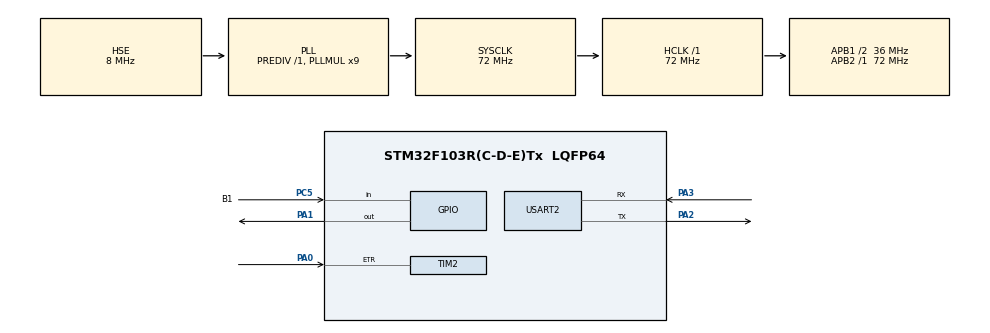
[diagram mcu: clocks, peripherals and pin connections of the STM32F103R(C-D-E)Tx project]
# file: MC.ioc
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Mcu.Family=STM32F1
Mcu.Name=STM32F103R(C-D-E)Tx
Mcu.Package=LQFP64
NVIC.PriorityGroup=NVIC_PRIORITYGROUP_4
NVIC.TIM3_IRQn=true\:0\:0\:false\:false\:true\:true\:true
PA0-WKUP.Signal=S_TIM2_CH1_ETR
PA1.Signal=GPIO_Output
PA13.Mode=Serial_Wire
PA13.Signal=SYS_JTMS-SWDIO
PA14.Mode=Serial_Wire
PA14.Signal=SYS_JTCK-SWCLK
PA2.Mode=Asynchronous
PA2.Signal=USART2_TX
PA3.Mode=Asynchronous
PA3.Signal=USART2_RX
PC14-OSC32_IN.Mode=LSE-External-Oscillator
PC14-OSC32_IN.Signal=RCC_OSC32_IN
PC15-OSC32_OUT.Mode=LSE-External-Oscillator
PC15-OSC32_OUT.Signal=RCC_OSC32_OUT
PC5.GPIO_Label=B1
PC5.GPIO_PuPd=GPIO_PULLUP
PC5.Signal=GPIO_Input
PD0-OSC_IN.Mode=HSE-External-Oscillator
PD0-OSC_IN.Signal=RCC_OSC_IN
PD1-OSC_OUT.Mode=HSE-External-Oscillator
PD1-OSC_OUT.Signal=RCC_OSC_OUT
ProjectManager.HeapSize=0x200
ProjectManager.StackSize=0x400
ProjectManager.TargetToolchain=MDK-ARM V5
RCC.AHBFreq_Value=72000000
RCC.APB1CLKDivider=RCC_HCLK_DIV2
RCC.APB1Freq_Value=36000000
RCC.APB1TimFreq_Value=72000000
RCC.APB2Freq_Value=72000000
RCC.APB2TimFreq_Value=72000000
RCC.HCLKFreq_Value=72000000
RCC.PLLMUL=RCC_PLL_MUL9
RCC.PLLSourceVirtual=RCC_PLLSOURCE_HSE
RCC.SYSCLKFreq_VALUE=72000000
RCC.SYSCLKSource=RCC_SYSCLKSOURCE_PLLCLK
RCC.USBFreq_Value=72000000
SH.S_TIM2_CH1_ETR.0=TIM2_ETR,ClockSourceETR_Mode2
TIM3.Period=100-1
TIM3.Prescaler=7200-1
USART2.VirtualMode=VM_ASYNC
VP_TIM3_VS_ClockSourceINT.Mode=Internal
board=custom

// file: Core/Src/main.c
/* USER CODE BEGIN Header */
/**
  ******************************************************************************
  * @file           : main.c
  * @brief          : Main program body
  ******************************************************************************
  * @attention
  *
  * <h2><center>&copy; Copyright (c) 2021 STMicroelectronics.
  * All rights reserved.</center></h2>
  *
  * This software component is licensed by ST under BSD 3-Clause license,
  * the "License"; You may not use this file except in compliance with the
  * License. You may obtain a copy of the License at:
  *                        opensource.org/licenses/BSD-3-Clause
  *
  ******************************************************************************
  */
/* USER CODE END Header */
#include "main.h"
#include "tim.h"
#include "usart.h"
#include "gpio.h"

/* USER CODE BEGIN PTD */
typedef enum
{
	KEY_CHECK = 0,
	KEY_COMFIRM,
	KEY_RELEASE
}KEY_STATE;
/* USER CODE END PTD */

/* USER CODE BEGIN PV */
KEY_STATE KeyState = KEY_CHECK;
uint8_t KeyFlag = 0;
uint8_t Result = 0;
/* USER CODE END PV */

void SystemClock_Config(void);

int main(void)
{

  /* MCU Configuration--------------------------------------------------------*/

  /* Reset of all peripherals, Initializes the Flash interface and the Systick. */
  HAL_Init();

  /* Configure the system clock */
  SystemClock_Config();

  /* Initialize all configured peripherals */
  MX_GPIO_Init();
  MX_TIM2_Init();
  MX_USART2_UART_Init();
  MX_TIM3_Init();
  /* USER CODE BEGIN 2 */
	HAL_TIM_Base_Start_IT(&htim3);
	HAL_TIM_Base_Start(&htim2);
	printf(" Timer count function test: \n");
  /* USER CODE END 2 */

  /* Infinite loop */
  while (1)
  {

    /* USER CODE BEGIN 3 */
		if(KeyFlag == 1)
		{
			KeyFlag = 0;
			HAL_GPIO_WritePin(GPIOA,GPIO_PIN_1,GPIO_PIN_SET);
			HAL_Delay(1);
			HAL_GPIO_WritePin(GPIOA,GPIO_PIN_1,GPIO_PIN_RESET);
			HAL_Delay(1);
			Result = __HAL_TIM_GET_COUNTER(&htim2);
			printf("Count = %d.\n",Result);
		}
  }
  /* USER CODE END 3 */
}

void SystemClock_Config(void)
{
  RCC_OscInitTypeDef RCC_OscInitStruct = {0};
  RCC_ClkInitTypeDef RCC_ClkInitStruct = {0};

  /** Initializes the RCC Oscillators according to the specified parameters
  * in the RCC_OscInitTypeDef structure.
  */
  RCC_OscInitStruct.OscillatorType = RCC_OSCILLATORTYPE_HSE;
  RCC_OscInitStruct.HSEState = RCC_HSE_ON;
  RCC_OscInitStruct.HSEPredivValue = RCC_HSE_PREDIV_DIV1;
  RCC_OscInitStruct.HSIState = RCC_HSI_ON;
  RCC_OscInitStruct.PLL.PLLState = RCC_PLL_ON;
  RCC_OscInitStruct.PLL.PLLSource = RCC_PLLSOURCE_HSE;
  RCC_OscInitStruct.PLL.PLLMUL = RCC_PLL_MUL9;
  if (HAL_RCC_OscConfig(&RCC_OscInitStruct) != HAL_OK)
  {
    Error_Handler();
  }
  /** Initializes the CPU, AHB and APB buses clocks
  */
  RCC_ClkInitStruct.ClockType = RCC_CLOCKTYPE_HCLK|RCC_CLOCKTYPE_SYSCLK
                              |RCC_CLOCKTYPE_PCLK1|RCC_CLOCKTYPE_PCLK2;
  RCC_ClkInitStruct.SYSCLKSource = RCC_SYSCLKSOURCE_PLLCLK;
  RCC_ClkInitStruct.AHBCLKDivider = RCC_SYSCLK_DIV1;
  RCC_ClkInitStruct.APB1CLKDivider = RCC_HCLK_DIV2;
  RCC_ClkInitStruct.APB2CLKDivider = RCC_HCLK_DIV1;

  if (HAL_RCC_ClockConfig(&RCC_ClkInitStruct, FLASH_LATENCY_2) != HAL_OK)
  {
    Error_Handler();
  }
}

/* USER CODE BEGIN 4 */
int futc(int ch, FILE *f)
{
	HAL_UART_Transmit(&huart2,(uint8_t*)&ch, 1, HAL_MAX_DELAY);
	return ch;
}
void HAL_TIM_PeriodElapsedCallback(TIM_HandleTypeDef *htim)
{
	if(htim->Instance == TIM3)
	{
		switch(KeyState)
		{
			case KEY_CHECK:
			{
				if(HAL_GPIO_ReadPin(B1_GPIO_Port,B1_Pin) == GPIO_PIN_RESET)
				{
					KeyState = KEY_COMFIRM;
				}
				break;
			}
			case KEY_COMFIRM:
				if(HAL_GPIO_ReadPin(B1_GPIO_Port,B1_Pin) == GPIO_PIN_RESET)
				{
					KeyState = KEY_RELEASE;
					KeyFlag=1;
				}
				else
				{
					KeyState = KEY_CHECK;
				}
				break;
			case KEY_RELEASE:
			{
				if(HAL_GPIO_ReadPin(B1_GPIO_Port,B1_Pin) == GPIO_PIN_SET)
				{
					KeyState = KEY_CHECK;
				}
				break;
			}
			default:
				break;
		}
	}
}
/* USER CODE END 4 */

void Error_Handler(void)
{
  __disable_irq();
  while (1)
  {
  }
}

/************************ (C) COPYRIGHT STMicroelectronics *****END OF FILE****/
